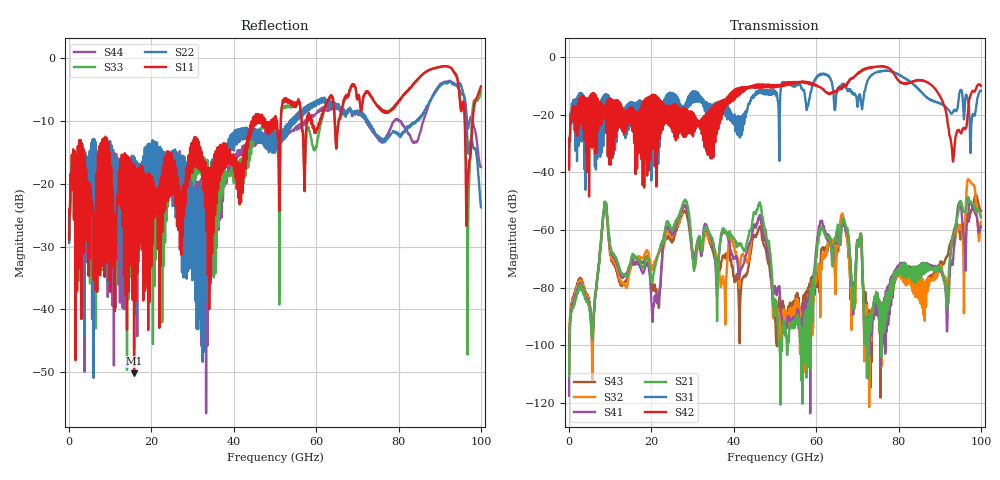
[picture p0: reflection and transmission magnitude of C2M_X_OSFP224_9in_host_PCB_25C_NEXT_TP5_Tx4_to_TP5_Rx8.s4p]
# GHz S RI R 45
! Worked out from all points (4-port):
!   4000 points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, 25 MHz to 100 GHz, reference 45 ohm
!   strongest paths, dB at 25 MHz, 25.02 GHz, 50.02 GHz, 75.03 GHz, 100 GHz:
!     S42: -39.0, -17.0, -10.4, -3.2, -9.9
!     S31: -37.7, -14.6, -12.1, -5.0, -11.6
!     S21: -110.8, -60.1, -84.1, -83.3, -55.7
!     S41: -117.6, -61.8, -80.1, -86.5, -58.8
!     S32: -111.6, -62.6, -87.5, -83.9, -57.2
!     S43: -108.0, -64.3, -90.3, -85.6, -53.4
!   lowest |S11| = -50.2 dB at 15.8 GHz (marker M1), VSWR 1.01, Z = 44.9 - j0.236 ohm
!   |S11| at or under -10 dB: start of sweep to 44.63 GHz; 59.03 GHz to 60.91 GHz (1.884 GHz wide, 3.14 % of centre); 96.08 GHz to 98 GHz (1.927 GHz wide, 1.99 % of centre)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
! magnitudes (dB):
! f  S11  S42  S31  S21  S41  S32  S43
! 25 MHz  -28.9  -39.0  -37.7  -110.8  -117.6  -111.6  -108.0
! 8.75 GHz  -14.3  -19.5  -15.4  -50.4  -50.7  -50.7  -51.0
! 15.8 GHz  -50.2  -29.8  -21.1  -68.8  -71.0  -69.4  -71.5
! 66.4 GHz  -7.7  -10.4  -9.2  -55.9  -57.7  -54.3  -55.7
! 86.35 GHz  -2.4  -8.2  -13.3  -75.0  -71.9  -88.9  -81.3
! 93.22 GHz  -2.0  -36.3  -19.1  -62.2  -71.2  -64.2  -61.9
! 100 GHz  -4.6  -9.9  -11.6  -55.7  -58.8  -57.2  -53.4
